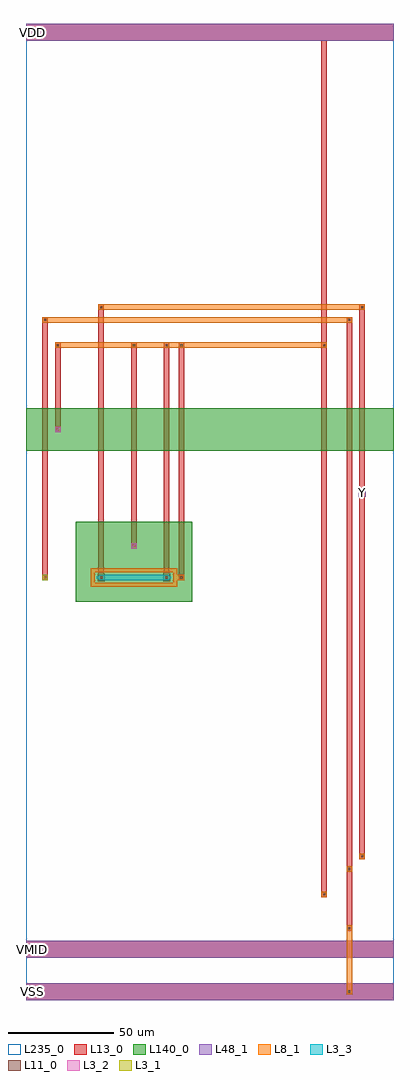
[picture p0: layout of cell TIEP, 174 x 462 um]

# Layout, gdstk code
import gdstk
lib = gdstk.Library(unit=1e-6, precision=1e-09)
def R(c, l, rs):  # rectangles x0, y0, x1, y1
    for r in rs: c.add(gdstk.rectangle(r[:2], r[2:], *l))
def P(c, l, *ps):  # polygons
    for p in ps: c.add(gdstk.Polygon(p, *l))
L3_1 = (3, 1)
L3_2 = (3, 2)
L3_3 = (3, 3)
L8_1 = (8, 1)
L11_0 = (11, 0)
L13_0 = (13, 0)
L48_1 = (48, 1)
L140_0 = (140, 0)
L235_0 = (235, 0)

res_diff__tiep = lib.new_cell('res_diff__TIEP')
P(res_diff__tiep, L3_3, [(-16.5,-1.4),(-17.5,-0.4),(-17.5,0.4),(-16.5,1.4),(16.5,1.4),(17.5,0.4),(17.5,-0.4),(16.5,-1.4)])
P(res_diff__tiep, L8_1, [(-20.5,-4.4),(-20.5,2.4),(-18.5,2.4),(-18.5,-2.4),(18.5,-2.4),(18.5,2.4),(-20.5,2.4),(-20.5,4.4),(20.5,4.4),(20.5,-4.4)])
R(res_diff__tiep, L11_0, [(-16,-0.5,-15,0.5), (15,-0.5,16,0.5)])
R(res_diff__tiep, L13_0, [(-17.2,-1.7,-13.8,1.7), (13.8,-1.7,17.2,1.7)])

cont_n__tiep = lib.new_cell('cont_n__TIEP')
R(cont_n__tiep, L3_2, [(-1.3,-1.3,1.3,1.3)])
R(cont_n__tiep, L11_0, [(-0.5,-0.5,0.5,0.5)])
R(cont_n__tiep, L13_0, [(-1.3,-1.3,1.3,1.3)])

cont_g__tiep = lib.new_cell('cont_g__TIEP')
R(cont_g__tiep, L8_1, [(-1.3,-1.3,1.3,1.3)])
R(cont_g__tiep, L11_0, [(-0.5,-0.5,0.5,0.5)])
R(cont_g__tiep, L13_0, [(-1.3,-1.3,1.3,1.3)])

cont_p__tiep = lib.new_cell('cont_p__TIEP')
R(cont_p__tiep, L3_1, [(-1.3,-1.3,1.3,1.3)])
R(cont_p__tiep, L11_0, [(-0.5,-0.5,0.5,0.5)])
R(cont_p__tiep, L13_0, [(-1.3,-1.3,1.3,1.3)])

tiep = lib.new_cell('TIEP')
R(tiep, L8_1, [(151.7,2.7,154.3,35.3), (70.2,198.7,74.8,201.3), (13.7,308.7,142.3,311.3), (7.7,320.7,154.3,323.3), (34.2,326.7,160.3,329.3)])
R(tiep, L13_0, [(0,0,174,8), (0,20,174,28), (151.7,32.7,154.3,63.3), (139.7,48.7,142.3,311.3), (151.7,60.7,154.3,323.3), (157.7,66.7,160.3,329.3), (7.7,198.7,10.3,323.3), (34.2,198.7,36.8,329.3), (65.2,198.7,67.8,311.3), (72.2,198.7,74.8,311.3), (49.7,213.7,52.3,311.3), (157.3,238.3,160.7,241.7), (13.7,268.7,16.3,311.3), (139.7,308.7,142.3,459.3), (0,454,174,462)])
R(tiep, L48_1, [(0,0,174,8), (0,20,174,28), (157.3,238.3,160.7,241.7), (0,454,174,462)])
R(tiep, L140_0, [(23.5,188.6,78.5,226.4), (0,260,174,280)])
R(tiep, L235_0, [(0,0,174,462)])
tiep.add(gdstk.Reference(res_diff__tiep, (51,200)))
tiep.add(gdstk.Reference(cont_n__tiep, (51,215)))
tiep.add(gdstk.Reference(cont_g__tiep, (73.5,200)))
tiep.add(gdstk.Reference(cont_n__tiep, (15,270)))
tiep.add(gdstk.Reference(cont_p__tiep, (9,200)))
tiep.add(gdstk.Reference(cont_g__tiep, (141,50)))
tiep.add(gdstk.Reference(cont_g__tiep, (66.5,310)))
tiep.add(gdstk.Reference(cont_g__tiep, (51,310)))
tiep.add(gdstk.Reference(cont_g__tiep, (73.5,310)))
tiep.add(gdstk.Reference(cont_g__tiep, (15,310)))
tiep.add(gdstk.Reference(cont_g__tiep, (141,310)))
tiep.add(gdstk.Reference(cont_g__tiep, (153,62)))
tiep.add(gdstk.Reference(cont_g__tiep, (9,322)))
tiep.add(gdstk.Reference(cont_g__tiep, (153,322)))
tiep.add(gdstk.Reference(cont_g__tiep, (153,34)))
tiep.add(gdstk.Reference(cont_g__tiep, (153,4)))
tiep.add(gdstk.Reference(cont_g__tiep, (159,68)))
tiep.add(gdstk.Reference(cont_g__tiep, (35.5,328)))
tiep.add(gdstk.Reference(cont_g__tiep, (159,328)))
tiep.add(gdstk.Label('Y', (159,240), layer=48, texttype=0))
tiep.add(gdstk.Label('VDD', (3,458), layer=48, texttype=0))
tiep.add(gdstk.Label('VMID', (3,24), layer=48, texttype=0))
tiep.add(gdstk.Label('VSS', (3,4), layer=48, texttype=0))

lib.write_gds('TIEP.gds')
